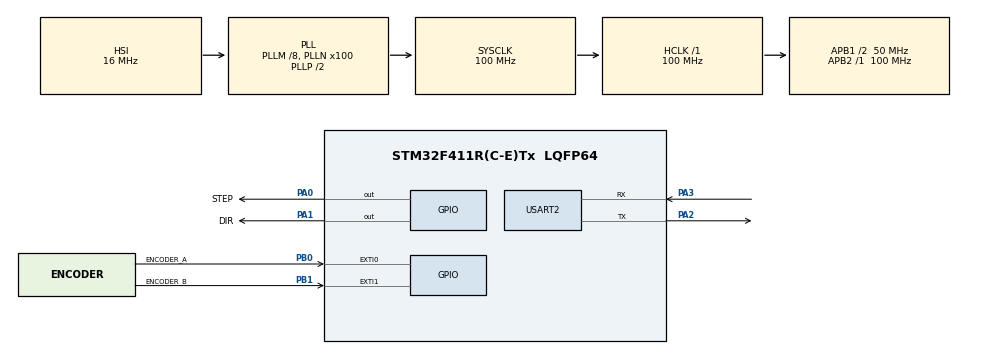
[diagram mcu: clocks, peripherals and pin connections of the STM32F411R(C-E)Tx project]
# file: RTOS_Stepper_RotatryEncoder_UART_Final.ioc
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FREERTOS.Tasks01=EncoderTask,0,128,StartEncoderTask,Default,NULL,Dynamic,NULL,NULL;MotorTask,-1,128,StartMotorTask,Default,NULL,Dynamic,NULL,NULL
Mcu.Family=STM32F4
Mcu.Name=STM32F411R(C-E)Tx
Mcu.Package=LQFP64
NVIC.EXTI0_IRQn=true\:0\:0\:false\:false\:true\:false\:true\:true\:true
NVIC.EXTI1_IRQn=true\:0\:0\:false\:false\:true\:false\:true\:true\:true
NVIC.PriorityGroup=NVIC_PRIORITYGROUP_4
NVIC.TIM2_IRQn=true\:15\:0\:false\:false\:true\:false\:false\:true\:true
NVIC.TimeBase=TIM2_IRQn
NVIC.TimeBaseIP=TIM2
NVIC.USART2_IRQn=true\:5\:0\:false\:false\:true\:true\:true\:true\:true
PA0-WKUP.GPIO_Label=STEP
PA0-WKUP.GPIO_Speed=GPIO_SPEED_FREQ_HIGH
PA0-WKUP.PinState=GPIO_PIN_RESET
PA0-WKUP.Signal=GPIO_Output
PA1.GPIO_Label=DIR
PA1.Signal=GPIO_Output
PA2.Mode=Asynchronous
PA2.Signal=USART2_TX
PA3.Mode=Asynchronous
PA3.Signal=USART2_RX
PB0.GPIO_Label=ENCODER_A
PB0.GPIO_ModeDefaultEXTI=GPIO_MODE_IT_RISING_FALLING
PB0.GPIO_PuPd=GPIO_PULLUP
PB0.Signal=GPXTI0
PB1.GPIO_Label=ENCODER_B
PB1.GPIO_ModeDefaultEXTI=GPIO_MODE_IT_RISING_FALLING
PB1.GPIO_PuPd=GPIO_PULLUP
PB1.Signal=GPXTI1
PH0\ -\ OSC_IN.Mode=HSE-External-Oscillator
PH0\ -\ OSC_IN.Signal=RCC_OSC_IN
PH1\ -\ OSC_OUT.Mode=HSE-External-Oscillator
PH1\ -\ OSC_OUT.Signal=RCC_OSC_OUT
ProjectManager.HeapSize=0x200
ProjectManager.StackSize=0x400
ProjectManager.TargetToolchain=STM32CubeIDE
RCC.48MHZClocksFreq_Value=50000000
RCC.AHBFreq_Value=100000000
RCC.APB1CLKDivider=RCC_HCLK_DIV2
RCC.APB1Freq_Value=50000000
RCC.APB1TimFreq_Value=100000000
RCC.APB2Freq_Value=100000000
RCC.APB2TimFreq_Value=100000000
RCC.CortexFreq_Value=100000000
RCC.FLatency-AdvancedSettings=FLASH_LATENCY_3
RCC.HCLKFreq_Value=100000000
RCC.HSE_VALUE=8000000
RCC.HSI_VALUE=16000000
RCC.LSE_VALUE=32768
RCC.PLLM=8
RCC.PLLN=100
RCC.SYSCLKFreq_VALUE=100000000
RCC.SYSCLKSource=RCC_SYSCLKSOURCE_PLLCLK
RCC.VCOOutputFreq_Value=200000000
TIM1.Period=65535
TIM1.Prescaler=90
USART2.VirtualMode=VM_ASYNC
VP_FREERTOS_VS_CMSIS_V1.Mode=CMSIS_V1
VP_SYS_VS_tim2.Mode=TIM2
VP_TIM1_VS_ClockSourceINT.Mode=Internal
board=NUCLEO-F411RE

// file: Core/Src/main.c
/* USER CODE BEGIN Header */
/**
  ******************************************************************************
  * @file           : main.c
  * @brief          : Main program body
  ******************************************************************************
  * @attention
  *
  * Copyright (c) 2024 STMicroelectronics.
  * All rights reserved.
  *
  * This software is licensed under terms that can be found in the LICENSE file
  * in the root directory of this software component.
  * If no LICENSE file comes with this software, it is provided AS-IS.
  *
  ******************************************************************************
  */
/* USER CODE END Header */
#include "main.h"
#include "cmsis_os.h"

/* USER CODE BEGIN Includes */
#include "PlebcStepper.h"
#include "stdio.h"
#include "stdint.h"
#include "string.h"
#include "stdlib.h"

/* USER CODE END Includes */

/* USER CODE BEGIN PTD */
int rpm = 100;
int motorSetSteps = 6400;

volatile int lastEncoded = 0;
volatile long encoderValue = 0;
int lastMSB = 0;
int lastLSB = 0;

char received_char;
int input_steps= 0;
#define BUFFER_SIZE 50
char received_string[BUFFER_SIZE];
int received_index = 0;

long int updatedEncoderValue;
long int currentPosition = 0;
float targetPosition = 0;
long int positionToMove = 0;
int stepsToMove = 0;
float encoderPulseValue = 2400.00; //encoder values in one rotation

/* USER CODE END PTD */

TIM_HandleTypeDef htim1;

UART_HandleTypeDef huart2;

osThreadId EncoderTaskHandle;
osThreadId MotorTaskHandle;

void SystemClock_Config(void);
static void MX_GPIO_Init(void);
static void MX_TIM1_Init(void);
static void MX_USART2_UART_Init(void);
void StartEncoderTask(void const * argument);
void StartMotorTask(void const * argument);

/* USER CODE BEGIN 0 */
void updateEncoder(void)
{
  int MSB = HAL_GPIO_ReadPin(GPIOB, ENCODER_A_Pin);
  int LSB = HAL_GPIO_ReadPin(GPIOB, ENCODER_B_Pin);

  int encoded = (MSB << 1) | LSB;
  int sum = (lastEncoded << 2) | encoded;

  if (sum == 0b1101 || sum == 0b0100 || sum == 0b0010 || sum == 0b1011)
    encoderValue++;
  if (sum == 0b1110 || sum == 0b0111 || sum == 0b0001 || sum == 0b1000)
    encoderValue--;

  lastEncoded = encoded;
}

void HAL_GPIO_EXTI_Callback(uint16_t GPIO_Pin)
{
  if (GPIO_Pin == ENCODER_A_Pin || GPIO_Pin == ENCODER_B_Pin)
  {
    updateEncoder();
  }
}

// Forward declaration of the receive function
void UART_StartReceive(void);

char RxString[10];

void HAL_UART_RxCpltCallback(UART_HandleTypeDef *huart)
{
    if (huart->Instance == USART2)
    {
        if (received_char == '/')
        {
            // Initialize the received string buffer
            received_index = 0;
            memset(received_string, 0, sizeof(received_string));
        }
        else if (received_char == '*')
        {
            // Null-terminate the string
            received_string[received_index] = '\0';
            // Parse the received string to an integer
            input_steps = atoi(received_string);
//            motor_run = 1; // Set flag to start motor
        }
        else
        {
            // Store the received character in the buffer
            if (received_index < sizeof(received_string) - 1)
            {
                received_string[received_index++] = received_char;
            }
        }

        // Re-enable UART receive interrupt
        HAL_UART_Receive_IT(&huart2, (uint8_t *)&received_char, 1);
    }
}

// Function to start UART reception
void UART_StartReceive(void)
{
  HAL_UART_Receive_IT(&huart2, (uint8_t *)&received_char, 1);
}

/* USER CODE END 0 */

int main(void)
{

  /* MCU Configuration--------------------------------------------------------*/

  /* Reset of all peripherals, Initializes the Flash interface and the Systick. */
  HAL_Init();

  /* USER CODE BEGIN Init */
  	  // Enable the UART receive interrupt
  	  //HAL_UART_Receive_IT(&huart2, (uint8_t *)&received_char, 1);
  	  // Start UART reception
      UART_StartReceive();
  /* USER CODE END Init */

  /* Configure the system clock */
  SystemClock_Config();

  /* Initialize all configured peripherals */
  MX_GPIO_Init();
  MX_TIM1_Init();
  MX_USART2_UART_Init();
  /* USER CODE BEGIN 2 */
  HAL_TIM_Base_Start(&htim1);

  /* USER CODE END 2 */

  /* Create the thread(s) */
  /* definition and creation of EncoderTask */
  osThreadDef(EncoderTask, StartEncoderTask, osPriorityNormal, 0, 128);
  EncoderTaskHandle = osThreadCreate(osThread(EncoderTask), NULL);

  /* definition and creation of MotorTask */
  osThreadDef(MotorTask, StartMotorTask, osPriorityBelowNormal, 0, 128);
  MotorTaskHandle = osThreadCreate(osThread(MotorTask), NULL);

  /* Start scheduler */
  osKernelStart();
  /* We should never get here as control is now taken by the scheduler */
  /* Infinite loop */
  while (1)
  {

  }
}

void SystemClock_Config(void)
{
  RCC_OscInitTypeDef RCC_OscInitStruct = {0};
  RCC_ClkInitTypeDef RCC_ClkInitStruct = {0};

  /** Configure the main internal regulator output voltage
  */
  __HAL_RCC_PWR_CLK_ENABLE();
  __HAL_PWR_VOLTAGESCALING_CONFIG(PWR_REGULATOR_VOLTAGE_SCALE1);

  /** Initializes the RCC Oscillators according to the specified parameters
  * in the RCC_OscInitTypeDef structure.
  */
  RCC_OscInitStruct.OscillatorType = RCC_OSCILLATORTYPE_HSI;
  RCC_OscInitStruct.HSIState = RCC_HSI_ON;
  RCC_OscInitStruct.HSICalibrationValue = RCC_HSICALIBRATION_DEFAULT;
  RCC_OscInitStruct.PLL.PLLState = RCC_PLL_ON;
  RCC_OscInitStruct.PLL.PLLSource = RCC_PLLSOURCE_HSI;
  RCC_OscInitStruct.PLL.PLLM = 8;
  RCC_OscInitStruct.PLL.PLLN = 100;
  RCC_OscInitStruct.PLL.PLLP = RCC_PLLP_DIV2;
  RCC_OscInitStruct.PLL.PLLQ = 4;
  if (HAL_RCC_OscConfig(&RCC_OscInitStruct) != HAL_OK)
  {
    Error_Handler();
  }

  /** Initializes the CPU, AHB and APB buses clocks
  */
  RCC_ClkInitStruct.ClockType = RCC_CLOCKTYPE_HCLK|RCC_CLOCKTYPE_SYSCLK
                              |RCC_CLOCKTYPE_PCLK1|RCC_CLOCKTYPE_PCLK2;
  RCC_ClkInitStruct.SYSCLKSource = RCC_SYSCLKSOURCE_PLLCLK;
  RCC_ClkInitStruct.AHBCLKDivider = RCC_SYSCLK_DIV1;
  RCC_ClkInitStruct.APB1CLKDivider = RCC_HCLK_DIV2;
  RCC_ClkInitStruct.APB2CLKDivider = RCC_HCLK_DIV1;

  if (HAL_RCC_ClockConfig(&RCC_ClkInitStruct, FLASH_LATENCY_3) != HAL_OK)
  {
    Error_Handler();
  }
}

static void MX_TIM1_Init(void)
{

  TIM_ClockConfigTypeDef sClockSourceConfig = {0};
  TIM_MasterConfigTypeDef sMasterConfig = {0};

  htim1.Instance = TIM1;
  htim1.Init.Prescaler = 90;
  htim1.Init.CounterMode = TIM_COUNTERMODE_UP;
  htim1.Init.Period = 65535;
  htim1.Init.ClockDivision = TIM_CLOCKDIVISION_DIV1;
  htim1.Init.RepetitionCounter = 0;
  htim1.Init.AutoReloadPreload = TIM_AUTORELOAD_PRELOAD_DISABLE;
  if (HAL_TIM_Base_Init(&htim1) != HAL_OK)
  {
    Error_Handler();
  }
  sClockSourceConfig.ClockSource = TIM_CLOCKSOURCE_INTERNAL;
  if (HAL_TIM_ConfigClockSource(&htim1, &sClockSourceConfig) != HAL_OK)
  {
    Error_Handler();
  }
  sMasterConfig.MasterOutputTrigger = TIM_TRGO_RESET;
  sMasterConfig.MasterSlaveMode = TIM_MASTERSLAVEMODE_DISABLE;
  if (HAL_TIMEx_MasterConfigSynchronization(&htim1, &sMasterConfig) != HAL_OK)
  {
    Error_Handler();
  }

}

static void MX_USART2_UART_Init(void)
{

  huart2.Instance = USART2;
  huart2.Init.BaudRate = 115200;
  huart2.Init.WordLength = UART_WORDLENGTH_8B;
  huart2.Init.StopBits = UART_STOPBITS_1;
  huart2.Init.Parity = UART_PARITY_NONE;
  huart2.Init.Mode = UART_MODE_TX_RX;
  huart2.Init.HwFlowCtl = UART_HWCONTROL_NONE;
  huart2.Init.OverSampling = UART_OVERSAMPLING_16;
  if (HAL_UART_Init(&huart2) != HAL_OK)
  {
    Error_Handler();
  }
  /* USER CODE BEGIN USART2_Init 2 */
  	  // Enable the UART receive interrupt
  	  HAL_UART_Receive_IT(&huart2, (uint8_t *)&received_char, 1);
  /* USER CODE END USART2_Init 2 */

}

static void MX_GPIO_Init(void)
{
  GPIO_InitTypeDef GPIO_InitStruct = {0};

  /* GPIO Ports Clock Enable */
  __HAL_RCC_GPIOH_CLK_ENABLE();
  __HAL_RCC_GPIOA_CLK_ENABLE();
  __HAL_RCC_GPIOB_CLK_ENABLE();

  /*Configure GPIO pin Output Level */
  HAL_GPIO_WritePin(GPIOA, STEP_Pin|DIR_Pin, GPIO_PIN_RESET);

  /*Configure GPIO pin : STEP_Pin */
  GPIO_InitStruct.Pin = STEP_Pin;
  GPIO_InitStruct.Mode = GPIO_MODE_OUTPUT_PP;
  GPIO_InitStruct.Pull = GPIO_NOPULL;
  GPIO_InitStruct.Speed = GPIO_SPEED_FREQ_HIGH;
  HAL_GPIO_Init(STEP_GPIO_Port, &GPIO_InitStruct);

  /*Configure GPIO pin : DIR_Pin */
  GPIO_InitStruct.Pin = DIR_Pin;
  GPIO_InitStruct.Mode = GPIO_MODE_OUTPUT_PP;
  GPIO_InitStruct.Pull = GPIO_NOPULL;
  GPIO_InitStruct.Speed = GPIO_SPEED_FREQ_LOW;
  HAL_GPIO_Init(DIR_GPIO_Port, &GPIO_InitStruct);

  /*Configure GPIO pins : ENCODER_A_Pin ENCODER_B_Pin */
  GPIO_InitStruct.Pin = ENCODER_A_Pin|ENCODER_B_Pin;
  GPIO_InitStruct.Mode = GPIO_MODE_IT_RISING_FALLING;
  GPIO_InitStruct.Pull = GPIO_PULLUP;
  HAL_GPIO_Init(GPIOB, &GPIO_InitStruct);

  /* EXTI interrupt init*/
  HAL_NVIC_SetPriority(EXTI0_IRQn, 0, 0);
  HAL_NVIC_EnableIRQ(EXTI0_IRQn);

  HAL_NVIC_SetPriority(EXTI1_IRQn, 0, 0);
  HAL_NVIC_EnableIRQ(EXTI1_IRQn);

}

void StartEncoderTask(void const * argument)
{
  /* USER CODE BEGIN 5 */
  /* Infinite loop */
  for(;;)
  {
	  __disable_irq();
	  updatedEncoderValue = encoderValue;
	  __enable_irq();
	  char msg[50];
	  snprintf(msg, sizeof(msg), "Value: %d     ", ((int)(updatedEncoderValue*0.15)));
	  HAL_UART_Transmit(&huart2, (uint8_t*)msg, strlen(msg), HAL_MAX_DELAY);
	  osDelay(100);
  }
  /* USER CODE END 5 */
}

/* USER CODE END Header_StartMotorTask */
void StartMotorTask(void const * argument)
{
  /* USER CODE BEGIN StartMotorTask */

  // Define motor configurations
  MotorConfig motor1 = {GPIOA, GPIO_PIN_1, GPIOA, GPIO_PIN_0};

  // Setup stepper motor parameters
  setRPM(rpm, motorSetSteps); // (RPM, Steps)
  setAcceleration(50.0f); // Set acceleration in steps per second^2

  /* Infinite loop */
  for(;;)
  {
	  // Display input steps
	 char msg[50];
	 snprintf(msg, sizeof(msg), "debug input_steps: %d\r\n", input_steps);
	 HAL_UART_Transmit(&huart2, (uint8_t*)msg, strlen(msg), HAL_MAX_DELAY);
//	 osDelay(500);
    // Disable interrupts and read the encoder value
    __disable_irq();
    currentPosition = updatedEncoderValue; // Read the latest encoder value
    __enable_irq();

	// Calculate target position with floating-point division
	targetPosition = input_steps * ((float)encoderPulseValue / 360.0f); // in encoder value

	// Calculate position to move
	positionToMove = (long int)targetPosition - currentPosition; // in encoder value

	// Calculate steps to move
	stepsToMove = positionToMove * (motorSetSteps / (float)encoderPulseValue);

	// Move motor
	motorMove(&motor1, stepsToMove);

	osDelay(100);
  }
  /* USER CODE END StartMotorTask */
}

void HAL_TIM_PeriodElapsedCallback(TIM_HandleTypeDef *htim)
{
  if (htim->Instance == TIM2) {
    HAL_IncTick();
  }
}

void Error_Handler(void)
{
  __disable_irq();
  while (1)
  {
  }
}
